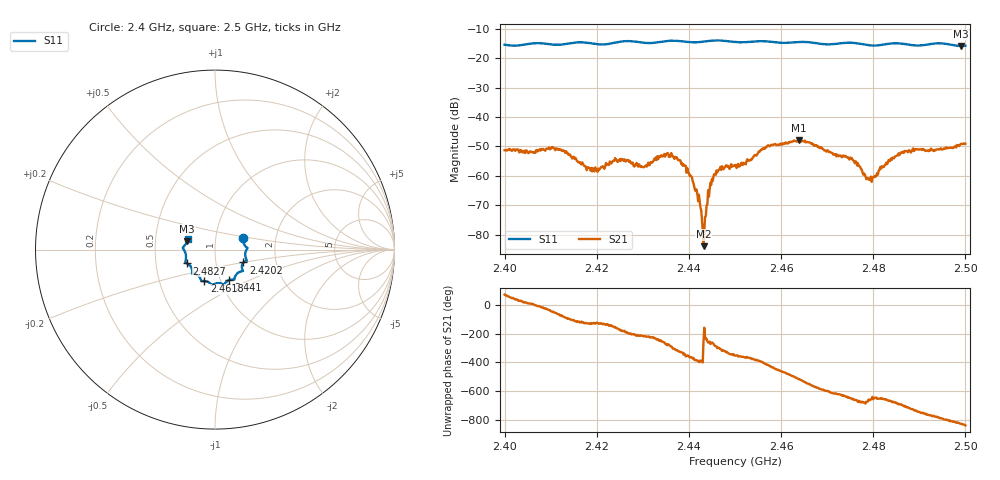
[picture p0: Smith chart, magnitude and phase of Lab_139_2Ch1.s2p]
# Hz S RI R 50
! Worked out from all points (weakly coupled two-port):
!   601 points, 2.4 GHz to 2.5 GHz, reference 50 ohm
!   highest |S21| = -47.90 dB at 2.4638 GHz (marker M1); lowest = -84.0 dB at 2.4432 GHz (marker M2)
!   lowest |S11| = -15.8 dB at 2.499 GHz (marker M3), VSWR 1.39, Z = 36.4 + j3.47 ohm
!   |S11| at or under -10 dB: start of sweep to end of sweep
!   S12 and S22 are empty: the file has one direction only
!   S11 on the Smith chart (normalised r, x): 2.4 GHz: 1.36, +0.18; 2.4202 GHz: 1.36, -0.20; 2.441 GHz: 1.10, -0.39; 2.4618 GHz: 0.84, -0.30; 2.4827 GHz: 0.72, -0.12; 2.5 GHz: 0.73, +0.09
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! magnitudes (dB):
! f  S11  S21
! 2.4 GHz  -15.4  -51.3
! 2.4107 GHz  -15.4  -50.6
! 2.4167 GHz  -14.5  -56.1
! 2.4202 GHz  -15.2  -58.6
! 2.4245 GHz  -14.5  -55.3
! 2.4303 GHz  -14.7  -56.9
! 2.4333 GHz  -14.5  -54.3
! 2.4377 GHz  -14.1  -54.7
! 2.441 GHz  -14.6  -62.6
! 2.4432 GHz  -14.3  -84.0
! 2.4447 GHz  -14.0  -62.4
! 2.4455 GHz  -13.9  -59.4
! 2.45 GHz  -14.4  -56.6
! 2.4618 GHz  -14.7  -48.6
! 2.4638 GHz  -14.4  -47.9
! 2.4667 GHz  -14.6  -48.9
! 2.4753 GHz  -14.7  -53.9
! 2.4788 GHz  -15.5  -60.7
! 2.4827 GHz  -15.2  -56.2
! 2.4833 GHz  -15.0  -54.6
! 2.499 GHz  -15.8  -49.1
! 2.5 GHz  -15.7  -49.1
